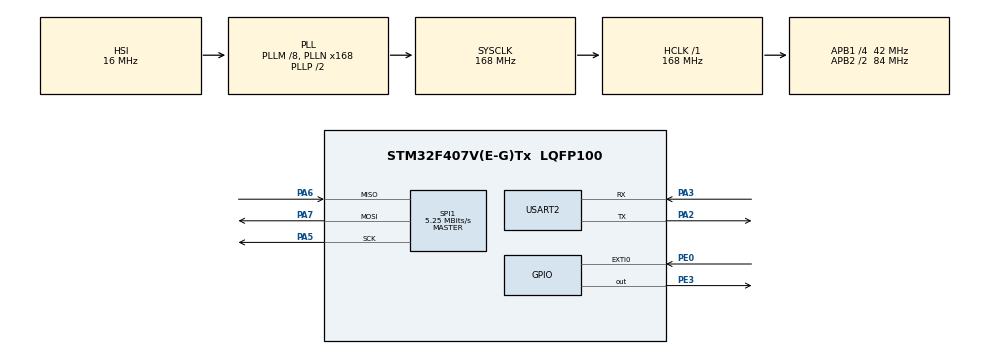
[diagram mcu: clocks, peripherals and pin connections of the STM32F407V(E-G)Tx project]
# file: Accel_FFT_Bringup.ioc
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Mcu.Family=STM32F4
Mcu.Name=STM32F407V(E-G)Tx
Mcu.Package=LQFP100
NVIC.EXTI0_IRQn=true\:0\:0\:false\:false\:true\:true\:true\:true
NVIC.PriorityGroup=NVIC_PRIORITYGROUP_4
PA2.Mode=Asynchronous
PA2.Signal=USART2_TX
PA3.Mode=Asynchronous
PA3.Signal=USART2_RX
PA5.Mode=Full_Duplex_Master
PA5.Signal=SPI1_SCK
PA6.Mode=Full_Duplex_Master
PA6.Signal=SPI1_MISO
PA7.Mode=Full_Duplex_Master
PA7.Signal=SPI1_MOSI
PE0.Signal=GPXTI0
PE3.Signal=GPIO_Output
ProjectManager.HeapSize=0x200
ProjectManager.StackSize=0x400
ProjectManager.TargetToolchain=STM32CubeIDE
RCC.48MHZClocksFreq_Value=84000000
RCC.AHBFreq_Value=168000000
RCC.APB1CLKDivider=RCC_HCLK_DIV4
RCC.APB1Freq_Value=42000000
RCC.APB1TimFreq_Value=84000000
RCC.APB2CLKDivider=RCC_HCLK_DIV2
RCC.APB2Freq_Value=84000000
RCC.APB2TimFreq_Value=168000000
RCC.CortexFreq_Value=168000000
RCC.HCLKFreq_Value=168000000
RCC.HSE_VALUE=25000000
RCC.HSI_VALUE=16000000
RCC.LSE_VALUE=32768
RCC.PLLM=8
RCC.PLLN=168
RCC.SYSCLKFreq_VALUE=168000000
RCC.SYSCLKSource=RCC_SYSCLKSOURCE_PLLCLK
RCC.VCOOutputFreq_Value=336000000
SPI1.BaudRatePrescaler=SPI_BAUDRATEPRESCALER_16
SPI1.CLKPhase=SPI_PHASE_2EDGE
SPI1.CLKPolarity=SPI_POLARITY_HIGH
SPI1.CalculateBaudRate=5.25 MBits/s
SPI1.Direction=SPI_DIRECTION_2LINES
SPI1.Mode=SPI_MODE_MASTER
SPI1.VirtualType=VM_MASTER
USART2.VirtualMode=VM_ASYNC
board=custom

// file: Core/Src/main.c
/* USER CODE BEGIN Header */
/**
  ******************************************************************************
  * @file           : main.c
  * @brief          : Main program body
  ******************************************************************************
  * @attention
  *
  * Copyright (c) 2026 STMicroelectronics.
  * All rights reserved.
  *
  * This software is licensed under terms that can be found in the LICENSE file
  * in the root directory of this software component.
  * If no LICENSE file comes with this software, it is provided AS-IS.
  *
  ******************************************************************************
  */
/* USER CODE END Header */
#include "main.h"

/* USER CODE BEGIN Includes */
#include <LIS3DSHTR.h>
#include <stdio.h>
#include "arm_math.h"
/* USER CODE END Includes */

SPI_HandleTypeDef hspi1;

UART_HandleTypeDef huart2;

/* USER CODE BEGIN PV */
volatile uint8_t data_ready = 0;
#define FFT_SIZE 512
float32_t fft_buffer[FFT_SIZE];
uint16_t fft_index = 0;

float32_t fft_output[FFT_SIZE];
arm_rfft_fast_instance_f32 fft_instance;

float32_t fft_magnitude[FFT_SIZE / 2];
/* USER CODE END PV */

void SystemClock_Config(void);
static void MX_GPIO_Init(void);
static void MX_SPI1_Init(void);
static void MX_USART2_UART_Init(void);

int main(void)
{

  /* MCU Configuration--------------------------------------------------------*/

  /* Reset of all peripherals, Initializes the Flash interface and the Systick. */
  HAL_Init();

  /* Configure the system clock */
  SystemClock_Config();

  /* Initialize all configured peripherals */
  MX_GPIO_Init();
  MX_SPI1_Init();
  MX_USART2_UART_Init();
  /* USER CODE BEGIN 2 */
  LIS3_HandleTypeDef hlis;
  hlis.hspi    = &hspi1;
  hlis.cs_port = GPIOE;
  hlis.cs_pin  = GPIO_PIN_3;

  LIS3_DataTypeDef data;

  LIS3_Init(&hlis);                                                // CTRL_REG4 = 0x77, ODR 400Hz
  LIS3_WriteReg(&hlis, LIS3_CTRL_REG3, LIS3_CTRL_REG3_DRDY_INT1);  // CTRL_REG3 = 0xE8, DRDY on INT1

  arm_rfft_fast_init_f32(&fft_instance, FFT_SIZE);
  /* USER CODE END 2 */

  /* Infinite loop */
  /* USER CODE BEGIN WHILE */
  while (1)
  {
	  if (data_ready)
	  {
	      data_ready = 0;
	      LIS3_ReadXYZ(&hlis, &data);

	      fft_buffer[fft_index++] = (float32_t)data.x;

	      if (fft_index >= FFT_SIZE)
	      {
	          fft_index = 0;
	          arm_rfft_fast_f32(&fft_instance, fft_buffer, fft_output, 0);

	             arm_cmplx_mag_f32(fft_output, fft_magnitude, FFT_SIZE / 2);

	             printf("FFT magnitude (first 10 bins):\r\n");
	             for (int i = 0; i < 10; i++)
	             {
	                 printf("%d: %.2f\r\n", i, fft_magnitude[i]);
	             }
	      }
	  }
    /* USER CODE END WHILE */

  }
}

void SystemClock_Config(void)
{
  RCC_OscInitTypeDef RCC_OscInitStruct = {0};
  RCC_ClkInitTypeDef RCC_ClkInitStruct = {0};

  /** Configure the main internal regulator output voltage
  */
  __HAL_RCC_PWR_CLK_ENABLE();
  __HAL_PWR_VOLTAGESCALING_CONFIG(PWR_REGULATOR_VOLTAGE_SCALE1);

  /** Initializes the RCC Oscillators according to the specified parameters
  * in the RCC_OscInitTypeDef structure.
  */
  RCC_OscInitStruct.OscillatorType = RCC_OSCILLATORTYPE_HSI;
  RCC_OscInitStruct.HSIState = RCC_HSI_ON;
  RCC_OscInitStruct.HSICalibrationValue = RCC_HSICALIBRATION_DEFAULT;
  RCC_OscInitStruct.PLL.PLLState = RCC_PLL_ON;
  RCC_OscInitStruct.PLL.PLLSource = RCC_PLLSOURCE_HSI;
  RCC_OscInitStruct.PLL.PLLM = 8;
  RCC_OscInitStruct.PLL.PLLN = 168;
  RCC_OscInitStruct.PLL.PLLP = RCC_PLLP_DIV2;
  RCC_OscInitStruct.PLL.PLLQ = 4;
  if (HAL_RCC_OscConfig(&RCC_OscInitStruct) != HAL_OK)
  {
    Error_Handler();
  }

  /** Initializes the CPU, AHB and APB buses clocks
  */
  RCC_ClkInitStruct.ClockType = RCC_CLOCKTYPE_HCLK|RCC_CLOCKTYPE_SYSCLK
                              |RCC_CLOCKTYPE_PCLK1|RCC_CLOCKTYPE_PCLK2;
  RCC_ClkInitStruct.SYSCLKSource = RCC_SYSCLKSOURCE_PLLCLK;
  RCC_ClkInitStruct.AHBCLKDivider = RCC_SYSCLK_DIV1;
  RCC_ClkInitStruct.APB1CLKDivider = RCC_HCLK_DIV4;
  RCC_ClkInitStruct.APB2CLKDivider = RCC_HCLK_DIV2;

  if (HAL_RCC_ClockConfig(&RCC_ClkInitStruct, FLASH_LATENCY_5) != HAL_OK)
  {
    Error_Handler();
  }
}

static void MX_SPI1_Init(void)
{

  /* SPI1 parameter configuration*/
  hspi1.Instance = SPI1;
  hspi1.Init.Mode = SPI_MODE_MASTER;
  hspi1.Init.Direction = SPI_DIRECTION_2LINES;
  hspi1.Init.DataSize = SPI_DATASIZE_8BIT;
  hspi1.Init.CLKPolarity = SPI_POLARITY_HIGH;
  hspi1.Init.CLKPhase = SPI_PHASE_2EDGE;
  hspi1.Init.NSS = SPI_NSS_SOFT;
  hspi1.Init.BaudRatePrescaler = SPI_BAUDRATEPRESCALER_16;
  hspi1.Init.FirstBit = SPI_FIRSTBIT_MSB;
  hspi1.Init.TIMode = SPI_TIMODE_DISABLE;
  hspi1.Init.CRCCalculation = SPI_CRCCALCULATION_DISABLE;
  hspi1.Init.CRCPolynomial = 10;
  if (HAL_SPI_Init(&hspi1) != HAL_OK)
  {
    Error_Handler();
  }

}

static void MX_USART2_UART_Init(void)
{

  huart2.Instance = USART2;
  huart2.Init.BaudRate = 115200;
  huart2.Init.WordLength = UART_WORDLENGTH_8B;
  huart2.Init.StopBits = UART_STOPBITS_1;
  huart2.Init.Parity = UART_PARITY_NONE;
  huart2.Init.Mode = UART_MODE_TX_RX;
  huart2.Init.HwFlowCtl = UART_HWCONTROL_NONE;
  huart2.Init.OverSampling = UART_OVERSAMPLING_16;
  if (HAL_UART_Init(&huart2) != HAL_OK)
  {
    Error_Handler();
  }

}

static void MX_GPIO_Init(void)
{
  GPIO_InitTypeDef GPIO_InitStruct = {0};

  /* GPIO Ports Clock Enable */
  __HAL_RCC_GPIOE_CLK_ENABLE();
  __HAL_RCC_GPIOA_CLK_ENABLE();

  /*Configure GPIO pin Output Level */
  HAL_GPIO_WritePin(GPIOE, GPIO_PIN_3, GPIO_PIN_RESET);

  /*Configure GPIO pin : PE3 */
  GPIO_InitStruct.Pin = GPIO_PIN_3;
  GPIO_InitStruct.Mode = GPIO_MODE_OUTPUT_PP;
  GPIO_InitStruct.Pull = GPIO_NOPULL;
  GPIO_InitStruct.Speed = GPIO_SPEED_FREQ_LOW;
  HAL_GPIO_Init(GPIOE, &GPIO_InitStruct);

  /*Configure GPIO pin : PE0 */
  GPIO_InitStruct.Pin = GPIO_PIN_0;
  GPIO_InitStruct.Mode = GPIO_MODE_IT_RISING;
  GPIO_InitStruct.Pull = GPIO_NOPULL;
  HAL_GPIO_Init(GPIOE, &GPIO_InitStruct);

  /* EXTI interrupt init*/
  HAL_NVIC_SetPriority(EXTI0_IRQn, 0, 0);
  HAL_NVIC_EnableIRQ(EXTI0_IRQn);

}

/* USER CODE BEGIN 4 */
void HAL_GPIO_EXTI_Callback(uint16_t GPIO_Pin)
{
    if (GPIO_Pin == GPIO_PIN_0)
    {
        data_ready = 1;
    }
}

int _write(int file, char *ptr, int len)
{
    HAL_UART_Transmit(&huart2, (uint8_t*)ptr, len, HAL_MAX_DELAY);
    return len;
}
/* USER CODE END 4 */

void Error_Handler(void)
{
  __disable_irq();
  while (1)
  {
  }
}
